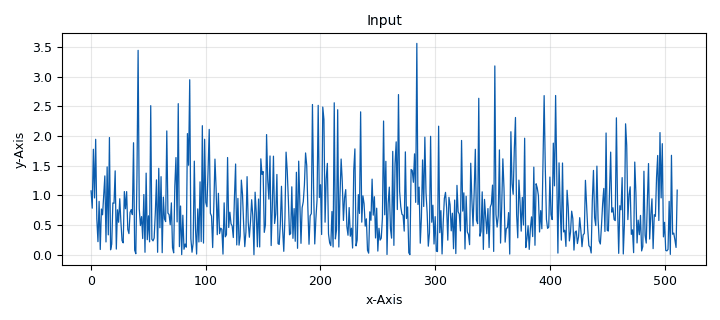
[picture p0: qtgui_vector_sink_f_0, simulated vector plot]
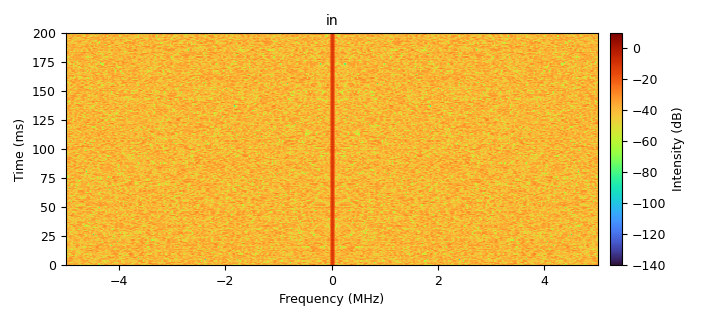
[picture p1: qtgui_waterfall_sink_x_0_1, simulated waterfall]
<?xml version='1.0' encoding='utf-8'?>
<?grc format='1' created='3.7.11'?>
<flow_graph>
<block>
<key>options</key>
<param><key>id</key><value>dedisperse</value></param>
<param><key>category</key><value>Custom</value></param>
<param><key>description</key><value>detect test</value></param>
<param><key>generate_options</key><value>qt_gui</value></param>
<param><key>title</key><value>Dedisperse</value></param>
</block>
<block>
<key>variable</key>
<param><key>id</key><value>freq</value></param>
<param><key>value</key><value>705e6</value></param>
</block>
<block>
<key>variable</key>
<param><key>id</key><value>ndm</value></param>
<param><key>value</key><value>100</value></param>
</block>
<block>
<key>variable</key>
<param><key>id</key><value>nt</value></param>
<param><key>value</key><value>512</value></param>
</block>
<block>
<key>variable</key>
<param><key>id</key><value>samp_rate</value></param>
<param><key>value</key><value>10e6</value></param>
</block>
<block>
<key>variable</key>
<param><key>id</key><value>vec_length</value></param>
<param><key>value</key><value>512</value></param>
</block>
<block>
<key>analog_noise_source_x</key>
<param><key>id</key><value>analog_noise_source_x_0</value></param>
<param><key>amp</key><value>1</value></param>
<param><key>noise_type</key><value>analog.GR_GAUSSIAN</value></param>
<param><key>type</key><value>float</value></param>
<param><key>seed</key><value>0</value></param>
</block>
<block>
<key>blocks_abs_xx</key>
<param><key>id</key><value>blocks_abs_xx_0</value></param>
<param><key>type</key><value>float</value></param>
<param><key>vlen</key><value>vec_length</value></param>
</block>
<block>
<key>blocks_stream_to_vector</key>
<param><key>id</key><value>blocks_stream_to_vector_0_0</value></param>
<param><key>type</key><value>float</value></param>
<param><key>num_items</key><value>nt</value></param>
<param><key>vlen</key><value>vec_length</value></param>
</block>
<block>
<key>blocks_stream_to_vector</key>
<param><key>id</key><value>blocks_stream_to_vector_0_0_0</value></param>
<param><key>type</key><value>float</value></param>
<param><key>num_items</key><value>vec_length</value></param>
</block>
<block>
<key>blocks_throttle</key>
<param><key>id</key><value>blocks_throttle_0</value></param>
<param><key>samples_per_second</key><value>1000</value></param>
<param><key>type</key><value>float</value></param>
<param><key>vlen</key><value>vec_length</value></param>
</block>
<block>
<key>blocks_vector_to_stream</key>
<param><key>id</key><value>blocks_vector_to_stream_0_1</value></param>
<param><key>type</key><value>float</value></param>
<param><key>num_items</key><value>nt</value></param>
<param><key>vlen</key><value>vec_length</value></param>
</block>
<block>
<key>blocks_vector_to_stream</key>
<param><key>id</key><value>blocks_vector_to_stream_0_2</value></param>
<param><key>type</key><value>float</value></param>
<param><key>num_items</key><value>vec_length</value></param>
</block>
<block>
<key>import</key>
<param><key>id</key><value>import_0</value></param>
<param><key>import</key><value>import numpy as np</value></param>
</block>
<block>
<key>qtgui_vector_sink_f</key>
<param><key>id</key><value>qtgui_vector_sink_f_0</value></param>
<param><key>autoscale</key><value>True</value></param>
<param><key>name</key><value>"Input"</value></param>
<param><key>showports</key><value>True</value></param>
<param><key>vlen</key><value>vec_length</value></param>
<param><key>x_start</key><value>0</value></param>
<param><key>x_step</key><value>1.0</value></param>
<param><key>ymax</key><value>7</value></param>
<param><key>ymin</key><value>4</value></param>
</block>
<block>
<key>qtgui_vector_sink_f</key>
<param><key>id</key><value>qtgui_vector_sink_f_0_0</value></param>
<param><key>autoscale</key><value>True</value></param>
<param><key>name</key><value>"output"</value></param>
<param><key>showports</key><value>True</value></param>
<param><key>vlen</key><value>vec_length</value></param>
<param><key>x_start</key><value>0</value></param>
<param><key>x_step</key><value>1.0</value></param>
<param><key>ymax</key><value>7</value></param>
<param><key>ymin</key><value>4</value></param>
</block>
<block>
<key>qtgui_waterfall_sink_x</key>
<param><key>id</key><value>qtgui_waterfall_sink_x_0_1</value></param>
<param><key>bw</key><value>samp_rate</value></param>
<param><key>fc</key><value>0</value></param>
<param><key>fftsize</key><value>vec_length</value></param>
<param><key>name</key><value>"in"</value></param>
<param><key>showports</key><value>True</value></param>
<param><key>type</key><value>float</value></param>
<param><key>wintype</key><value>firdes.WIN_BLACKMAN_hARRIS</value></param>
</block>
<block>
<key>radio_astro_detect</key>
<param><key>id</key><value>radio_astro_detect_0</value></param>
<param><key>bw</key><value>samp_rate/1e6</value></param>
<param><key>dms</key><value>ndm</value></param>
<param><key>f_obs</key><value>freq/1e6</value></param>
<param><key>nt</key><value>nt</value></param>
<param><key>t_int</key><value>1</value></param>
<param><key>vec_length</key><value>vec_length</value></param>
</block>
<connection><source_block_id>analog_noise_source_x_0</source_block_id><sink_block_id>blocks_stream_to_vector_0_0_0</sink_block_id><source_key>0</source_key><sink_key>0</sink_key></connection>
<connection><source_block_id>blocks_abs_xx_0</source_block_id><sink_block_id>blocks_throttle_0</sink_block_id><source_key>0</source_key><sink_key>0</sink_key></connection>
<connection><source_block_id>blocks_stream_to_vector_0_0</source_block_id><sink_block_id>blocks_vector_to_stream_0_1</sink_block_id><source_key>0</source_key><sink_key>0</sink_key></connection>
<connection><source_block_id>blocks_stream_to_vector_0_0</source_block_id><sink_block_id>radio_astro_detect_0</sink_block_id><source_key>0</source_key><sink_key>0</sink_key></connection>
<connection><source_block_id>blocks_stream_to_vector_0_0_0</source_block_id><sink_block_id>blocks_abs_xx_0</sink_block_id><source_key>0</source_key><sink_key>0</sink_key></connection>
<connection><source_block_id>blocks_throttle_0</source_block_id><sink_block_id>blocks_stream_to_vector_0_0</sink_block_id><source_key>0</source_key><sink_key>0</sink_key></connection>
<connection><source_block_id>blocks_vector_to_stream_0_1</source_block_id><sink_block_id>blocks_vector_to_stream_0_2</sink_block_id><source_key>0</source_key><sink_key>0</sink_key></connection>
<connection><source_block_id>blocks_vector_to_stream_0_1</source_block_id><sink_block_id>qtgui_vector_sink_f_0</sink_block_id><source_key>0</source_key><sink_key>0</sink_key></connection>
<connection><source_block_id>blocks_vector_to_stream_0_2</source_block_id><sink_block_id>qtgui_waterfall_sink_x_0_1</sink_block_id><source_key>0</source_key><sink_key>0</sink_key></connection>
<connection><source_block_id>radio_astro_detect_0</source_block_id><sink_block_id>qtgui_vector_sink_f_0_0</sink_block_id><source_key>0</source_key><sink_key>0</sink_key></connection>
</flow_graph>
